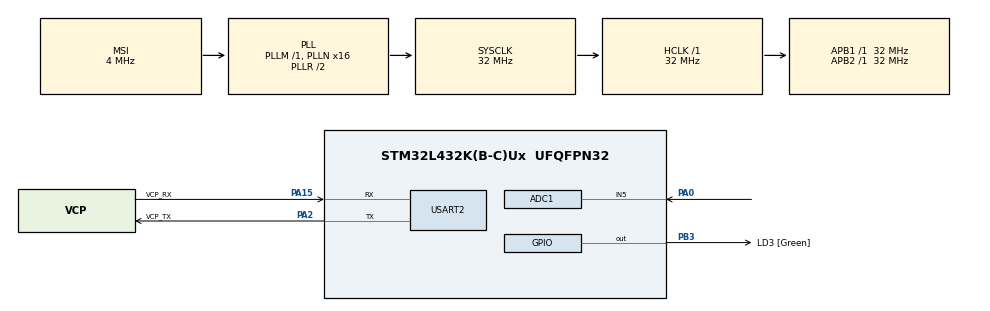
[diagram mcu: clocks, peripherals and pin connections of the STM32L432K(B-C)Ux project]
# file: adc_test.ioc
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ADC1.Channel-0\#ChannelRegularConversion=ADC_CHANNEL_5
ADC1.NbrOfConversionFlag=1
ADC1.OffsetNumber-0\#ChannelRegularConversion=ADC_OFFSET_NONE
ADC1.Rank-0\#ChannelRegularConversion=1
ADC1.SamplingTime-0\#ChannelRegularConversion=ADC_SAMPLETIME_2CYCLES_5
ADC1.master=1
Mcu.Family=STM32L4
Mcu.Name=STM32L432K(B-C)Ux
Mcu.Package=UFQFPN32
NVIC.PriorityGroup=NVIC_PRIORITYGROUP_4
PA0.Signal=ADCx_IN5
PA13\ (JTMS-SWDIO).GPIO_Label=SWDIO
PA13\ (JTMS-SWDIO).Mode=Serial_Wire
PA13\ (JTMS-SWDIO).Signal=SYS_JTMS-SWDIO
PA14\ (JTCK-SWCLK).GPIO_Label=SWCLK
PA14\ (JTCK-SWCLK).Mode=Serial_Wire
PA14\ (JTCK-SWCLK).Signal=SYS_JTCK-SWCLK
PA15\ (JTDI).GPIO_Label=VCP_RX
PA15\ (JTDI).Mode=Asynchronous
PA15\ (JTDI).Signal=USART2_RX
PA2.GPIO_Label=VCP_TX
PA2.Mode=Asynchronous
PA2.Signal=USART2_TX
PB3\ (JTDO-TRACESWO).GPIO_Label=LD3 [Green]
PB3\ (JTDO-TRACESWO).Signal=GPIO_Output
PC14-OSC32_IN\ (PC14).Mode=LSE-External-Oscillator
PC14-OSC32_IN\ (PC14).Signal=RCC_OSC32_IN
PC15-OSC32_OUT\ (PC15).Mode=LSE-External-Oscillator
PC15-OSC32_OUT\ (PC15).Signal=RCC_OSC32_OUT
ProjectManager.HeapSize=0x200
ProjectManager.StackSize=0x400
ProjectManager.TargetToolchain=STM32CubeIDE
RCC.ADCFreq_Value=32000000
RCC.AHBFreq_Value=32000000
RCC.APB1Freq_Value=32000000
RCC.APB1TimFreq_Value=32000000
RCC.APB2Freq_Value=32000000
RCC.APB2TimFreq_Value=32000000
RCC.CortexFreq_Value=32000000
RCC.HCLKFreq_Value=32000000
RCC.HSE_VALUE=8000000
RCC.HSI16_VALUE=16000000
RCC.HSI48_VALUE=48000000
RCC.HSI_VALUE=16000000
RCC.MSI_VALUE=4000000
RCC.PLLMUL=RCC_PLLMUL_4
RCC.PLLN=16
RCC.PLLSAI1N=16
RCC.SYSCLKFreq_VALUE=32000000
RCC.SYSCLKSource=RCC_SYSCLKSOURCE_PLLCLK
RCC.USBFreq_Value=32000000
RCC.VCOOutputFreq_Value=64000000
SH.ADCx_IN5.0=ADC1_IN5,IN5-Single-Ended
USART2.VirtualMode-Asynchronous=VM_ASYNC
board=NUCLEO-L432KC

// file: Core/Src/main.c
/* USER CODE BEGIN Header */
/**
  ******************************************************************************
  * @file           : main.c
  * @brief          : Main program body
  ******************************************************************************
  * @attention
  *
  * Copyright (c) 2022 STMicroelectronics.
  * All rights reserved.
  *
  * This software is licensed under terms that can be found in the LICENSE file
  * in the root directory of this software component.
  * If no LICENSE file comes with this software, it is provided AS-IS.
  *
  ******************************************************************************
  */
/* USER CODE END Header */
#include "main.h"

/* USER CODE BEGIN Includes */
#include <stdio.h>
/* USER CODE END Includes */

ADC_HandleTypeDef hadc1;

UART_HandleTypeDef huart2;

/* USER CODE BEGIN PV */
volatile uint32_t uhADCxConvertedValue = 0;
/* USER CODE END PV */

void SystemClock_Config(void);
static void MX_GPIO_Init(void);
static void MX_USART2_UART_Init(void);
static void MX_ADC1_Init(void);

/* USER CODE BEGIN 0 */
uint32_t print_flag = 0;
/* USER CODE END 0 */

int main(void)
{

  /* MCU Configuration--------------------------------------------------------*/

  /* Reset of all peripherals, Initializes the Flash interface and the Systick. */
  HAL_Init();

  /* Configure the system clock */
  SystemClock_Config();

  /* Initialize all configured peripherals */
  MX_GPIO_Init();
  MX_USART2_UART_Init();
  MX_ADC1_Init();
  /* USER CODE BEGIN 2 */

  /* Run the ADC calibration in single-ended mode */
  if (HAL_ADCEx_Calibration_Start(&hadc1, ADC_SINGLE_ENDED) != HAL_OK)
  {
    /* Calibration Error */
    Error_Handler();
  }

  /* USER CODE END 2 */

  /* Infinite loop */
  /* USER CODE BEGIN WHILE */

  while (1)
  {
	  /*##-3- Start the conversion process #######################################*/
	  if (HAL_ADC_Start(&hadc1) != HAL_OK)
	  {
	    /* Start Conversation Error */
	    Error_Handler();
	  }

	  /*##-4- Wait for the end of conversion #####################################*/
	  /*  For simplicity reasons, this example is just waiting till the end of the
	      conversion, but application may perform other tasks while conversion
	      operation is ongoing. */
	  if (HAL_ADC_PollForConversion(&hadc1, 10) != HAL_OK)
	  {
	    /* End Of Conversion flag not set on time */
	    Error_Handler();
	  }
	  else
	  {
	    /* ADC conversion completed */
	    /*##-5- Get the converted value of regular channel  ########################*/
	    uhADCxConvertedValue = HAL_ADC_GetValue(&hadc1);
	    HAL_ADC_Stop(&hadc1);
	    print_flag++;

	    if(print_flag == 1000)
	    {
	    	print_flag = 0;
	    	printf("ADC value is %ld\r\n", uhADCxConvertedValue);
	    }
	    HAL_Delay(1);
	  }
    /* USER CODE END WHILE */

  }
}

void SystemClock_Config(void)
{
  RCC_OscInitTypeDef RCC_OscInitStruct = {0};
  RCC_ClkInitTypeDef RCC_ClkInitStruct = {0};

  /** Configure the main internal regulator output voltage
  */
  if (HAL_PWREx_ControlVoltageScaling(PWR_REGULATOR_VOLTAGE_SCALE1) != HAL_OK)
  {
    Error_Handler();
  }

  /** Configure LSE Drive Capability
  */
  HAL_PWR_EnableBkUpAccess();
  __HAL_RCC_LSEDRIVE_CONFIG(RCC_LSEDRIVE_LOW);

  /** Initializes the RCC Oscillators according to the specified parameters
  * in the RCC_OscInitTypeDef structure.
  */
  RCC_OscInitStruct.OscillatorType = RCC_OSCILLATORTYPE_LSE|RCC_OSCILLATORTYPE_MSI;
  RCC_OscInitStruct.LSEState = RCC_LSE_ON;
  RCC_OscInitStruct.MSIState = RCC_MSI_ON;
  RCC_OscInitStruct.MSICalibrationValue = 0;
  RCC_OscInitStruct.MSIClockRange = RCC_MSIRANGE_6;
  RCC_OscInitStruct.PLL.PLLState = RCC_PLL_ON;
  RCC_OscInitStruct.PLL.PLLSource = RCC_PLLSOURCE_MSI;
  RCC_OscInitStruct.PLL.PLLM = 1;
  RCC_OscInitStruct.PLL.PLLN = 16;
  RCC_OscInitStruct.PLL.PLLP = RCC_PLLP_DIV7;
  RCC_OscInitStruct.PLL.PLLQ = RCC_PLLQ_DIV2;
  RCC_OscInitStruct.PLL.PLLR = RCC_PLLR_DIV2;
  if (HAL_RCC_OscConfig(&RCC_OscInitStruct) != HAL_OK)
  {
    Error_Handler();
  }

  /** Initializes the CPU, AHB and APB buses clocks
  */
  RCC_ClkInitStruct.ClockType = RCC_CLOCKTYPE_HCLK|RCC_CLOCKTYPE_SYSCLK
                              |RCC_CLOCKTYPE_PCLK1|RCC_CLOCKTYPE_PCLK2;
  RCC_ClkInitStruct.SYSCLKSource = RCC_SYSCLKSOURCE_PLLCLK;
  RCC_ClkInitStruct.AHBCLKDivider = RCC_SYSCLK_DIV1;
  RCC_ClkInitStruct.APB1CLKDivider = RCC_HCLK_DIV1;
  RCC_ClkInitStruct.APB2CLKDivider = RCC_HCLK_DIV1;

  if (HAL_RCC_ClockConfig(&RCC_ClkInitStruct, FLASH_LATENCY_1) != HAL_OK)
  {
    Error_Handler();
  }

  /** Enable MSI Auto calibration
  */
  HAL_RCCEx_EnableMSIPLLMode();
}

static void MX_ADC1_Init(void)
{

  ADC_ChannelConfTypeDef sConfig = {0};

  /** Common config
  */
  hadc1.Instance = ADC1;
  hadc1.Init.ClockPrescaler = ADC_CLOCK_ASYNC_DIV1;
  hadc1.Init.Resolution = ADC_RESOLUTION_12B;
  hadc1.Init.DataAlign = ADC_DATAALIGN_RIGHT;
  hadc1.Init.ScanConvMode = ADC_SCAN_DISABLE;
  hadc1.Init.EOCSelection = ADC_EOC_SINGLE_CONV;
  hadc1.Init.LowPowerAutoWait = DISABLE;
  hadc1.Init.ContinuousConvMode = DISABLE;
  hadc1.Init.NbrOfConversion = 1;
  hadc1.Init.DiscontinuousConvMode = DISABLE;
  hadc1.Init.ExternalTrigConv = ADC_SOFTWARE_START;
  hadc1.Init.ExternalTrigConvEdge = ADC_EXTERNALTRIGCONVEDGE_NONE;
  hadc1.Init.DMAContinuousRequests = DISABLE;
  hadc1.Init.Overrun = ADC_OVR_DATA_PRESERVED;
  hadc1.Init.OversamplingMode = DISABLE;
  if (HAL_ADC_Init(&hadc1) != HAL_OK)
  {
    Error_Handler();
  }

  /** Configure Regular Channel
  */
  sConfig.Channel = ADC_CHANNEL_5;
  sConfig.Rank = ADC_REGULAR_RANK_1;
  sConfig.SamplingTime = ADC_SAMPLETIME_2CYCLES_5;
  sConfig.SingleDiff = ADC_SINGLE_ENDED;
  sConfig.OffsetNumber = ADC_OFFSET_NONE;
  sConfig.Offset = 0;
  if (HAL_ADC_ConfigChannel(&hadc1, &sConfig) != HAL_OK)
  {
    Error_Handler();
  }

}

static void MX_USART2_UART_Init(void)
{

  huart2.Instance = USART2;
  huart2.Init.BaudRate = 115200;
  huart2.Init.WordLength = UART_WORDLENGTH_8B;
  huart2.Init.StopBits = UART_STOPBITS_1;
  huart2.Init.Parity = UART_PARITY_NONE;
  huart2.Init.Mode = UART_MODE_TX_RX;
  huart2.Init.HwFlowCtl = UART_HWCONTROL_NONE;
  huart2.Init.OverSampling = UART_OVERSAMPLING_16;
  huart2.Init.OneBitSampling = UART_ONE_BIT_SAMPLE_DISABLE;
  huart2.AdvancedInit.AdvFeatureInit = UART_ADVFEATURE_NO_INIT;
  if (HAL_UART_Init(&huart2) != HAL_OK)
  {
    Error_Handler();
  }

}

static void MX_GPIO_Init(void)
{
  GPIO_InitTypeDef GPIO_InitStruct = {0};

  /* GPIO Ports Clock Enable */
  __HAL_RCC_GPIOC_CLK_ENABLE();
  __HAL_RCC_GPIOA_CLK_ENABLE();
  __HAL_RCC_GPIOB_CLK_ENABLE();

  /*Configure GPIO pin Output Level */
  HAL_GPIO_WritePin(LD3_GPIO_Port, LD3_Pin, GPIO_PIN_RESET);

  /*Configure GPIO pin : LD3_Pin */
  GPIO_InitStruct.Pin = LD3_Pin;
  GPIO_InitStruct.Mode = GPIO_MODE_OUTPUT_PP;
  GPIO_InitStruct.Pull = GPIO_NOPULL;
  GPIO_InitStruct.Speed = GPIO_SPEED_FREQ_LOW;
  HAL_GPIO_Init(LD3_GPIO_Port, &GPIO_InitStruct);

}

void Error_Handler(void)
{
  __disable_irq();
  while (1)
  {
  }
}
